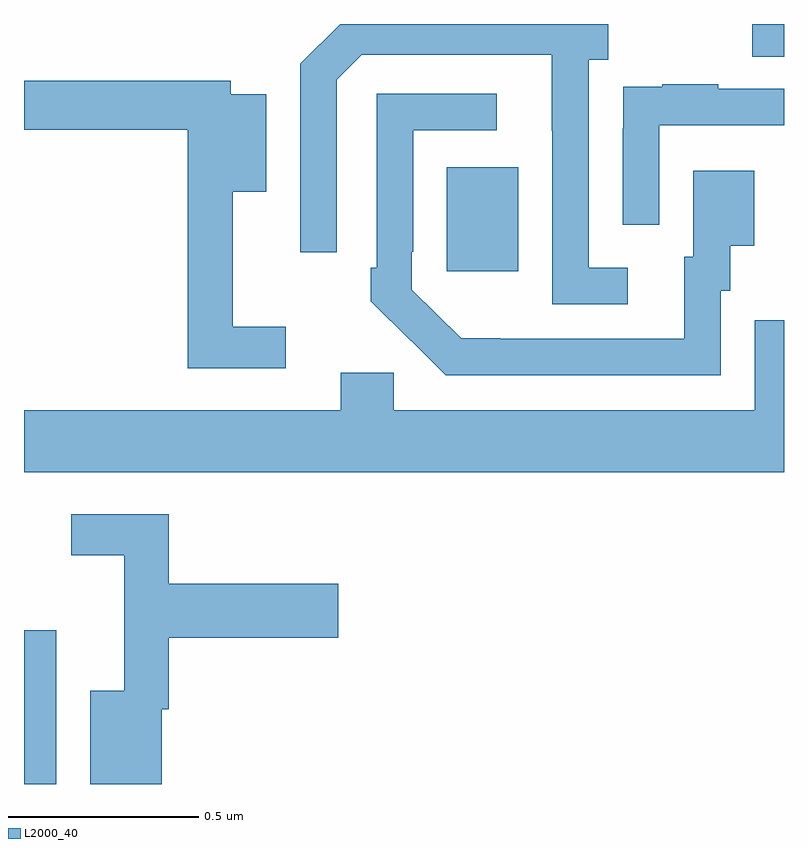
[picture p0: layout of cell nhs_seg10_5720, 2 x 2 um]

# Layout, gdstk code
import gdstk
lib = gdstk.Library(unit=1e-6, precision=1e-09)
def R(c, l, rs):  # rectangles x0, y0, x1, y1
    for r in rs: c.add(gdstk.rectangle(r[:2], r[2:], *l))
def P(c, l, *ps):  # polygons
    for p in ps: c.add(gdstk.Polygon(p, *l))
L2000_40 = (2000, 40)

nhs_seg10_5720 = lib.new_cell('nhs_seg10_5720')
R(nhs_seg10_5720, L2000_40, [(182,1295.5,182.085,1295.905), (183.113,1296.849,183.301,1297.123), (183.916,1297.414,184,1297.5)])
P(nhs_seg10_5720, L2000_40, [(183.589,1296.858),(183.486,1296.858),(183.486,1297.406),(183.538,1297.406),(183.538,1297.5),(182.832,1297.5),(182.727,1297.395),(182.727,1296.9),(182.823,1296.9),(182.823,1297.353),(182.889,1297.419),(183.389,1297.419),(183.389,1297.219),(183.39,1297.219),(183.39,1296.762),(183.589,1296.762)],
  [(182.689,1296.703),(182.549,1296.703),(182.549,1297.058),(182.638,1297.058),(182.638,1297.315),(182.544,1297.315),(182.544,1297.351),(182,1297.351),(182,1297.222),(182.431,1297.222),(182.431,1296.594),(182.689,1296.594)],
  [(183.672,1297.233),(184,1297.233),(184,1297.329),(183.827,1297.329),(183.827,1297.342),(183.679,1297.342),(183.679,1297.335),(183.577,1297.335),(183.577,1297.226),(183.576,1297.226),(183.576,1296.972),(183.672,1296.972)],
  [(183.834,1296.798),(183.859,1296.798),(183.859,1296.917),(183.922,1296.917),(183.922,1297.114),(183.761,1297.114),(183.761,1296.888),(183.737,1296.888),(183.737,1296.672),(183.253,1296.672),(183.253,1296.673),(183.15,1296.673),(183.021,1296.801),(183.021,1296.901),(183.024,1296.901),(183.024,1297.221),(183.244,1297.221),(183.244,1297.317),(182.928,1297.317),(182.928,1296.859),(182.913,1296.859),(182.913,1296.771),(183.018,1296.666),(183.019,1296.667),(183.11,1296.576),(183.834,1296.576)],
  [(184,1296.72),(183.923,1296.72),(183.923,1296.484),(182.973,1296.484),(182.973,1296.582),(182.834,1296.582),(182.834,1296.484),(182,1296.484),(182,1296.32),(184,1296.32)],
  [(182.362,1295.697),(182.381,1295.697),(182.381,1295.885),(182.827,1295.885),(182.827,1296.027),(182.381,1296.027),(182.381,1296.21),(182.124,1296.21),(182.124,1296.102),(182.264,1296.102),(182.264,1295.746),(182.174,1295.746),(182.174,1295.5),(182.362,1295.5)])

lib.write_gds('nhs_seg10_5720.gds')
